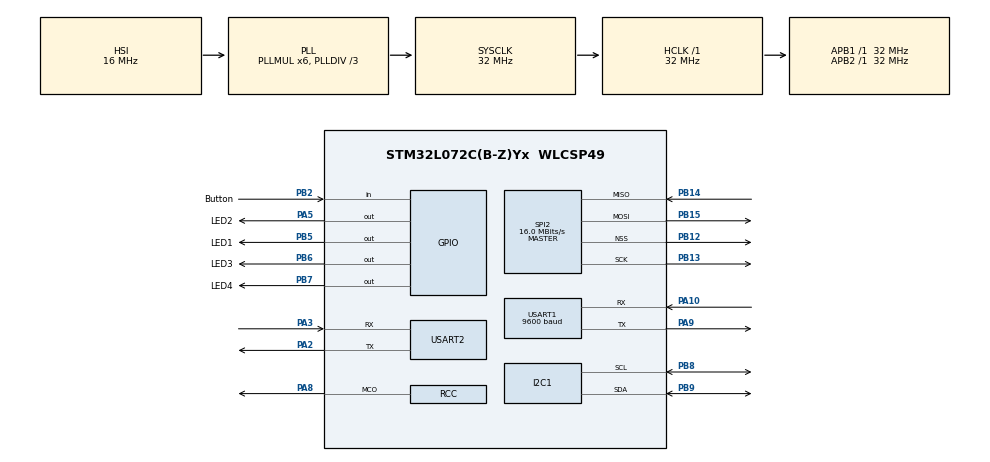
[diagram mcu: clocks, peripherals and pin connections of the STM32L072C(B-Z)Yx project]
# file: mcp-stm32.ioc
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Dma.Request0=USART1_TX
Dma.Request1=USART1_RX
Dma.Request2=USART2_TX
Dma.Request3=USART2_RX
Dma.USART1_RX.1.Direction=DMA_PERIPH_TO_MEMORY
Dma.USART1_RX.1.Instance=DMA1_Channel3
Dma.USART1_RX.1.MemDataAlignment=DMA_MDATAALIGN_BYTE
Dma.USART1_RX.1.MemInc=DMA_MINC_ENABLE
Dma.USART1_RX.1.Mode=DMA_NORMAL
Dma.USART1_RX.1.PeriphDataAlignment=DMA_PDATAALIGN_BYTE
Dma.USART1_RX.1.PeriphInc=DMA_PINC_DISABLE
Dma.USART1_RX.1.Priority=DMA_PRIORITY_LOW
Dma.USART1_TX.0.Direction=DMA_MEMORY_TO_PERIPH
Dma.USART1_TX.0.Instance=DMA1_Channel2
Dma.USART1_TX.0.MemDataAlignment=DMA_MDATAALIGN_BYTE
Dma.USART1_TX.0.MemInc=DMA_MINC_ENABLE
Dma.USART1_TX.0.Mode=DMA_NORMAL
Dma.USART1_TX.0.PeriphDataAlignment=DMA_PDATAALIGN_BYTE
Dma.USART1_TX.0.PeriphInc=DMA_PINC_DISABLE
Dma.USART1_TX.0.Priority=DMA_PRIORITY_LOW
Dma.USART2_RX.3.Direction=DMA_PERIPH_TO_MEMORY
Dma.USART2_RX.3.Instance=DMA1_Channel5
Dma.USART2_RX.3.MemDataAlignment=DMA_MDATAALIGN_BYTE
Dma.USART2_RX.3.MemInc=DMA_MINC_ENABLE
Dma.USART2_RX.3.Mode=DMA_NORMAL
Dma.USART2_RX.3.PeriphDataAlignment=DMA_PDATAALIGN_BYTE
Dma.USART2_RX.3.PeriphInc=DMA_PINC_DISABLE
Dma.USART2_RX.3.Priority=DMA_PRIORITY_LOW
Dma.USART2_TX.2.Direction=DMA_MEMORY_TO_PERIPH
Dma.USART2_TX.2.Instance=DMA1_Channel4
Dma.USART2_TX.2.MemDataAlignment=DMA_MDATAALIGN_BYTE
Dma.USART2_TX.2.MemInc=DMA_MINC_ENABLE
Dma.USART2_TX.2.Mode=DMA_NORMAL
Dma.USART2_TX.2.PeriphDataAlignment=DMA_PDATAALIGN_BYTE
Dma.USART2_TX.2.PeriphInc=DMA_PINC_DISABLE
Dma.USART2_TX.2.Priority=DMA_PRIORITY_LOW
I2C1.Timing=0x00707CBB
Mcu.Family=STM32L0
Mcu.Name=STM32L072C(B-Z)Yx
Mcu.Package=WLCSP49
NVIC.DMA1_Channel2_3_IRQn=true\:0\:0\:false\:false\:true\:false
NVIC.DMA1_Channel4_5_6_7_IRQn=true\:0\:0\:false\:false\:true\:false
NVIC.USART1_IRQn=true\:0\:0\:false\:false\:true\:true
NVIC.USART2_IRQn=true\:0\:0\:false\:false\:true\:true
PA10.Mode=Asynchronous
PA10.Signal=USART1_RX
PA13.Mode=Serial_Wire
PA13.Signal=SYS_SWDIO
PA14.Mode=Serial_Wire
PA14.Signal=SYS_SWCLK
PA2.Mode=Asynchronous
PA2.Signal=USART2_TX
PA3.Mode=Asynchronous
PA3.Signal=USART2_RX
PA5.GPIO_Label=LED2
PA5.PinState=GPIO_PIN_RESET
PA5.Signal=GPIO_Output
PA8.Mode=Clock-out
PA8.Signal=RCC_MCO
PA9.Mode=Asynchronous
PA9.Signal=USART1_TX
PB12.Mode=NSS_Signal_Hard_Output
PB12.Signal=SPI2_NSS
PB13.Mode=Full_Duplex_Master
PB13.Signal=SPI2_SCK
PB14.Mode=Full_Duplex_Master
PB14.Signal=SPI2_MISO
PB15.Mode=Full_Duplex_Master
PB15.Signal=SPI2_MOSI
PB2.GPIO_Label=Button
PB2.Signal=GPIO_Input
PB5.GPIO_Label=LED1
PB5.Signal=GPIO_Output
PB6.GPIO_Label=LED3
PB6.Signal=GPIO_Output
PB7.GPIO_Label=LED4
PB7.Signal=GPIO_Output
PB8.Mode=I2C
PB8.Signal=I2C1_SCL
PB9.Mode=I2C
PB9.Signal=I2C1_SDA
PC14-OSC32_IN.Mode=LSE-External-Oscillator
PC14-OSC32_IN.Signal=RCC_OSC32_IN
PC15-OSC32_OUT.Mode=LSE-External-Oscillator
PC15-OSC32_OUT.Signal=RCC_OSC32_OUT
ProjectManager.HeapSize=0xC00
ProjectManager.StackSize=0x1000
ProjectManager.TargetToolchain=TrueSTUDIO
RCC.AHBFreq_Value=32000000
RCC.APB1Freq_Value=32000000
RCC.APB1TimFreq_Value=32000000
RCC.APB2Freq_Value=32000000
RCC.APB2TimFreq_Value=32000000
RCC.EnableCSSLSE=true
RCC.HCLKFreq_Value=32000000
RCC.HSE_VALUE=8000000
RCC.HSI16_VALUE=16000000
RCC.HSI48_VALUE=48000000
RCC.HSI_VALUE=16000000
RCC.MSI_VALUE=2097000
RCC.PLLDIV=RCC_PLLDIV_3
RCC.PLLMUL=RCC_PLLMUL_6
RCC.RTCClockSelection=RCC_RTCCLKSOURCE_LSE
RCC.RTCClockSelectionVirtual=RCC_RTCCLKSOURCE_LSE
RCC.SYSCLKFreq_VALUE=32000000
RCC.SYSCLKSource=RCC_SYSCLKSOURCE_PLLCLK
RCC.VCOOutputFreq_Value=96000000
SPI2.CalculateBaudRate=16.0 MBits/s
SPI2.Direction=SPI_DIRECTION_2LINES
SPI2.Mode=SPI_MODE_MASTER
SPI2.VirtualNSS=VM_NSSHARD
SPI2.VirtualType=VM_MASTER
USART1.BaudRate=9600
USART1.VirtualMode-Asynchronous=VM_ASYNC
USART2.VirtualMode-Asynchronous=VM_ASYNC
VP_ADC_TempSens_Input.Mode=IN-TempSens
VP_ADC_Vref_Input.Mode=IN-Vrefint
VP_FATFS_VS_Generic.Mode=User_defined
VP_RTC_VS_RTC_Activate.Mode=RTC_Enabled
VP_RTC_VS_RTC_Calendar.Mode=RTC_Calendar
board=custom

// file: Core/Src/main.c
/* USER CODE BEGIN Header */
/**
  ******************************************************************************
  * @file           : main.c
  * @brief          : Main program body
  ******************************************************************************
  * This notice applies to any and all portions of this file
  * that are not between comment pairs USER CODE BEGIN and
  * USER CODE END. Other portions of this file, whether
  * inserted by the user or by software development tools
  * are owned by their respective copyright owners.
  *
  * Copyright (c) 2018 STMicroelectronics International N.V.
  * All rights reserved.
  *
  * Redistribution and use in source and binary forms, with or without
  * modification, are permitted, provided that the following conditions are met:
  *
  * 1. Redistribution of source code must retain the above copyright notice,
  *    this list of conditions and the following disclaimer.
  * 2. Redistributions in binary form must reproduce the above copyright notice,
  *    this list of conditions and the following disclaimer in the documentation
  *    and/or other materials provided with the distribution.
  * 3. Neither the name of STMicroelectronics nor the names of other
  *    contributors to this software may be used to endorse or promote products
  *    derived from this software without specific written permission.
  * 4. This software, including modifications and/or derivative works of this
  *    software, must execute solely and exclusively on microcontroller or
  *    microprocessor devices manufactured by or for STMicroelectronics.
  * 5. Redistribution and use of this software other than as permitted under
  *    this license is void and will automatically terminate your rights under
  *    this license.
  *
  * THIS SOFTWARE IS PROVIDED BY STMICROELECTRONICS AND CONTRIBUTORS "AS IS"
  * AND ANY EXPRESS, IMPLIED OR STATUTORY WARRANTIES, INCLUDING, BUT NOT
  * LIMITED TO, THE IMPLIED WARRANTIES OF MERCHANTABILITY, FITNESS FOR A
  * PARTICULAR PURPOSE AND NON-INFRINGEMENT OF THIRD PARTY INTELLECTUAL PROPERTY
  * RIGHTS ARE DISCLAIMED TO THE FULLEST EXTENT PERMITTED BY LAW. IN NO EVENT
  * SHALL STMICROELECTRONICS OR CONTRIBUTORS BE LIABLE FOR ANY DIRECT, INDIRECT,
  * INCIDENTAL, SPECIAL, EXEMPLARY, OR CONSEQUENTIAL DAMAGES (INCLUDING, BUT NOT
  * LIMITED TO, PROCUREMENT OF SUBSTITUTE GOODS OR SERVICES; LOSS OF USE, DATA,
  * OR PROFITS; OR BUSINESS INTERRUPTION) HOWEVER CAUSED AND ON ANY THEORY OF
  * LIABILITY, WHETHER IN CONTRACT, STRICT LIABILITY, OR TORT (INCLUDING
  * NEGLIGENCE OR OTHERWISE) ARISING IN ANY WAY OUT OF THE USE OF THIS SOFTWARE,
  * EVEN IF ADVISED OF THE POSSIBILITY OF SUCH DAMAGE.
  *
  ******************************************************************************
  */
/* USER CODE END Header */

#include "main.h"
#include "adc.h"
#include "dma.h"
#include "fatfs.h"
#include "i2c.h"
#include "rtc.h"
#include "spi.h"
#include "usart.h"
#include "gpio.h"

/* USER CODE BEGIN Includes */

#include <stdio.h>

#include "app_gps.h"

/* USER CODE END Includes */

/* USER CODE BEGIN PV */

static uint8_t gps_receive_char[2];

/* USER CODE END PV */

void SystemClock_Config(void);

int main(void)
{
  /* USER CODE BEGIN 1 */

	uint32_t tick = HAL_GetTick();

  /* USER CODE END 1 */

  /* MCU Configuration--------------------------------------------------------*/

  /* Reset of all peripherals, Initializes the Flash interface and the Systick. */
  HAL_Init();

  /* Configure the system clock */
  SystemClock_Config();

  /* Initialize all configured peripherals */
  MX_GPIO_Init();
  MX_DMA_Init();
  MX_ADC_Init();
  MX_FATFS_Init();
  MX_RTC_Init();
  MX_I2C1_Init();
  MX_USART1_UART_Init();
  MX_SPI2_Init();
  MX_USART2_UART_Init();
  /* USER CODE BEGIN 2 */

  app_gps_init();

  HAL_UART_Receive_IT(&huart1, gps_receive_char, 1);

  printf("Ballon Tracker V0.02 2018-12-18\n");

  HAL_GPIO_WritePin(LED2_GPIO_Port, LED2_Pin, GPIO_PIN_SET);

  /* USER CODE END 2 */

  /* Infinite loop */
  /* USER CODE BEGIN WHILE */
  while (1)
  {
	  app_gps_loop();

    /* USER CODE END WHILE */

    /* USER CODE BEGIN 3 */

	  if ((HAL_GetTick() - tick) > 5000) {
		  tick = HAL_GetTick();

		  if (app_gps_data.fix_valid) {
		  printf("GPS Valid=%d lon=%ld/%ld lat=%ld/%ld alt=%ld/%ld%c hd=%ld/%ld vd=%ld/%ld pd=%ld/%ld\n",
				  app_gps_data.fix_valid,
				  app_gps_data.longitude.value, app_gps_data.longitude.scale,
				  app_gps_data.latitude.value, app_gps_data.latitude.scale,
				  app_gps_data.altitude.value, app_gps_data.altitude.scale, app_gps_data.altitude_units,
				  app_gps_data.hdop.value, app_gps_data.hdop.scale,
				  app_gps_data.vdop.value, app_gps_data.vdop.scale,
				  app_gps_data.pdop.value, app_gps_data.pdop.scale
				  );
		  }
		  else {
			  printf("GPS Valid=%d\n", app_gps_data.fix_valid);
		  }
	  }
  }
  /* USER CODE END 3 */
}

void SystemClock_Config(void)
{
  RCC_OscInitTypeDef RCC_OscInitStruct = {0};
  RCC_ClkInitTypeDef RCC_ClkInitStruct = {0};
  RCC_PeriphCLKInitTypeDef PeriphClkInit = {0};

  /**Configure the main internal regulator output voltage
  */
  __HAL_PWR_VOLTAGESCALING_CONFIG(PWR_REGULATOR_VOLTAGE_SCALE1);
  /**Configure LSE Drive Capability
  */
  HAL_PWR_EnableBkUpAccess();
  __HAL_RCC_LSEDRIVE_CONFIG(RCC_LSEDRIVE_LOW);
  /**Initializes the CPU, AHB and APB busses clocks
  */
  RCC_OscInitStruct.OscillatorType = RCC_OSCILLATORTYPE_HSI|RCC_OSCILLATORTYPE_LSE;
  RCC_OscInitStruct.LSEState = RCC_LSE_ON;
  RCC_OscInitStruct.HSIState = RCC_HSI_ON;
  RCC_OscInitStruct.HSICalibrationValue = RCC_HSICALIBRATION_DEFAULT;
  RCC_OscInitStruct.PLL.PLLState = RCC_PLL_ON;
  RCC_OscInitStruct.PLL.PLLSource = RCC_PLLSOURCE_HSI;
  RCC_OscInitStruct.PLL.PLLMUL = RCC_PLLMUL_6;
  RCC_OscInitStruct.PLL.PLLDIV = RCC_PLLDIV_3;
  if (HAL_RCC_OscConfig(&RCC_OscInitStruct) != HAL_OK)
  {
    Error_Handler();
  }
  /**Initializes the CPU, AHB and APB busses clocks
  */
  RCC_ClkInitStruct.ClockType = RCC_CLOCKTYPE_HCLK|RCC_CLOCKTYPE_SYSCLK
                              |RCC_CLOCKTYPE_PCLK1|RCC_CLOCKTYPE_PCLK2;
  RCC_ClkInitStruct.SYSCLKSource = RCC_SYSCLKSOURCE_PLLCLK;
  RCC_ClkInitStruct.AHBCLKDivider = RCC_SYSCLK_DIV1;
  RCC_ClkInitStruct.APB1CLKDivider = RCC_HCLK_DIV1;
  RCC_ClkInitStruct.APB2CLKDivider = RCC_HCLK_DIV1;

  if (HAL_RCC_ClockConfig(&RCC_ClkInitStruct, FLASH_LATENCY_1) != HAL_OK)
  {
    Error_Handler();
  }
  PeriphClkInit.PeriphClockSelection = RCC_PERIPHCLK_USART1|RCC_PERIPHCLK_USART2
                              |RCC_PERIPHCLK_I2C1|RCC_PERIPHCLK_RTC;
  PeriphClkInit.Usart1ClockSelection = RCC_USART1CLKSOURCE_PCLK2;
  PeriphClkInit.Usart2ClockSelection = RCC_USART2CLKSOURCE_PCLK1;
  PeriphClkInit.I2c1ClockSelection = RCC_I2C1CLKSOURCE_PCLK1;
  PeriphClkInit.RTCClockSelection = RCC_RTCCLKSOURCE_LSE;
  if (HAL_RCCEx_PeriphCLKConfig(&PeriphClkInit) != HAL_OK)
  {
    Error_Handler();
  }
  HAL_RCC_MCOConfig(RCC_MCO1, RCC_MCO1SOURCE_SYSCLK, RCC_MCODIV_1);
  /**Enables the Clock Security System
  */
  HAL_RCCEx_EnableLSECSS();
}

/* USER CODE BEGIN 4 */

void HAL_UART_RxCpltCallback(UART_HandleTypeDef *huart)
{
	if (huart == &huart1) {
		app_gps_receive_char(*gps_receive_char);
		HAL_UART_Receive_IT(&huart1, gps_receive_char, 1);
	}
}

void HAL_UART_ErrorCallback(UART_HandleTypeDef *huart)
{
	if (huart == &huart1) {
		 HAL_UART_Receive_IT(&huart1, gps_receive_char, 1);
	}
}

/* USER CODE END 4 */

void Error_Handler(void)
{
}

/************************ (C) COPYRIGHT STMicroelectronics *****END OF FILE****/
